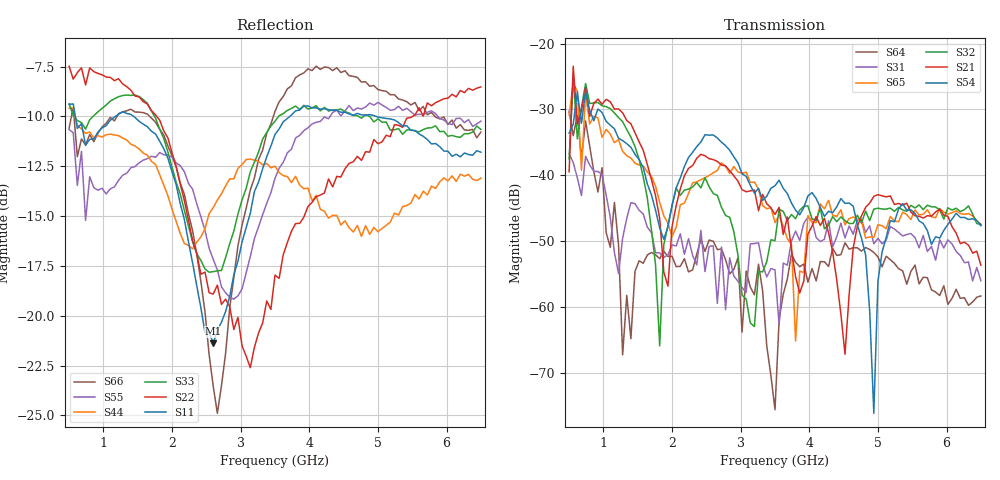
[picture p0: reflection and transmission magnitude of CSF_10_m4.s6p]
!Keysight Technologies,M9804A,MY58100912,A.14.10.03
!Date: Thursday, April 27, 2023 10:28:33
!Correction: S11(C  6-Port  )
!S12(C  6-Port  )
!S13(C  6-Port  )
!S14(C  6-Port  )
!S15(C  6-Port  )
!S16(C  6-Port  )
!S21(C  6-Port  )
!S22(C  6-Port  )
!S23(C  6-Port  )
!S24(C  6-Port  )
!S25(C  6-Port  )
!S26(C  6-Port  )
!S31(C  6-Port  )
!S32(C  6-Port  )
!S33(C  6-Port  )
!S34(C  6-Port  )
!S35(C  6-Port  )
!S36(C  6-Port  )
!S41(C  6-Port  )
!S42(C  6-Port  )
!S43(C  6-Port  )
!S44(C  6-Port  )
!S45(C  6-Port  )
!S46(C  6-Port  )
!S51(C  6-Port  )
!S52(C  6-Port  )
!S53(C  6-Port  )
!S54(C  6-Port  )
!S55(C  6-Port  )
!S56(C  6-Port  )
!S61(C  6-Port  )
!S62(C  6-Port  )
!S63(C  6-Port  )
!S64(C  6-Port  )
!S65(C  6-Port  )
!S66(C  6-Port  )
!S6P File: Measurement: :
# Hz S  RI  R 50
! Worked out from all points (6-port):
!   101 points, 500 MHz to 6.5 GHz, reference 50 ohm
!   strongest paths, dB at 500 MHz, 2 GHz, 3.5 GHz, 5 GHz, 6.5 GHz:
!     S54: -33.6, -44.5, -41.6, -56.1, -47.6
!     S21: -39.5, -47.7, -45.9, -42.9, -53.6
!     S32: -37.5, -44.6, -49.9, -45.0, -47.5
!     S65: -30.9, -49.2, -47.2, -47.5, -47.4
!     S31: -36.7, -50.5, -54.3, -49.5, -56.0
!     S64: -30.3, -52.3, -75.6, -52.4, -58.3
!   lowest |S11| = -21.4 dB at 2.6 GHz (marker M1), VSWR 1.19, Z = 42.4 + j2.14 ohm
!   |S11| at or under -10 dB: 590.6 MHz to 1.174 GHz (583.5 MHz wide, 66.1 % of centre); 1.441 GHz to 3.715 GHz (2.274 GHz wide, 88.2 % of centre); 4.974 GHz to end of sweep
